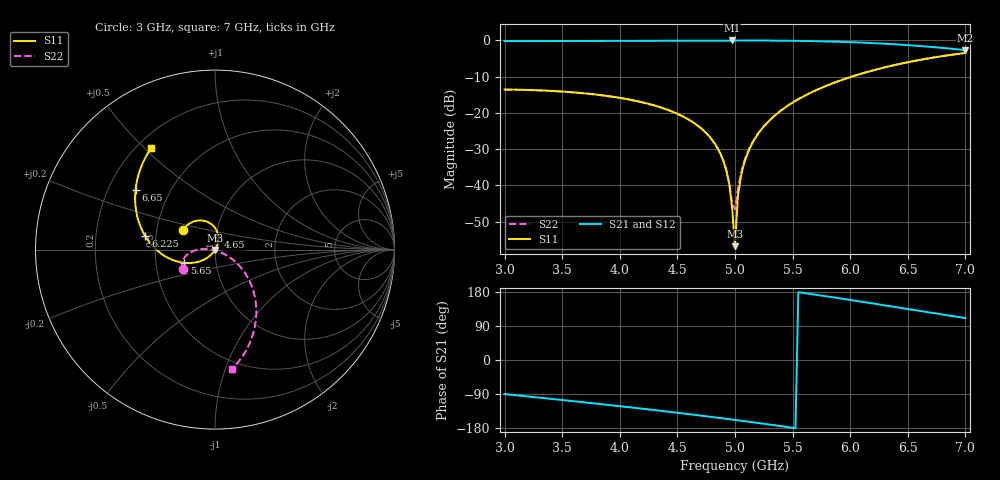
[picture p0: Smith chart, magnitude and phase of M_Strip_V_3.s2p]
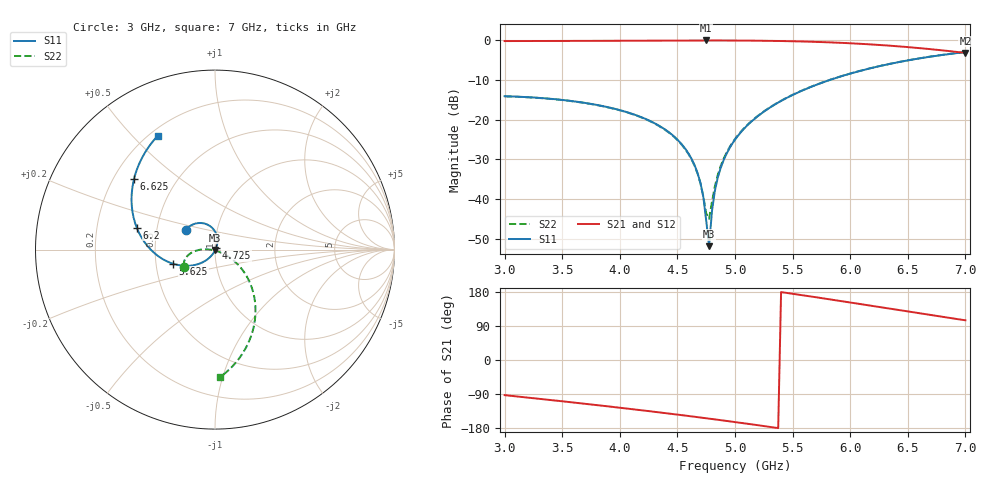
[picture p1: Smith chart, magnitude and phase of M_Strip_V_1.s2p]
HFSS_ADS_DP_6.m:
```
clc;
clear all;
close all;
%----------------------------------------------------------------------
% Units 
%----------------------------------------------------------------------

G = 10^9;
Meg = 10^6;
k = 10^+3;
c = 10^-2;
m = 10^-3;
u = 10^-6;
n = 10^-9;

%----------------------------------------------------------------------
% 
%----------------------------------------------------------------------
IFigure = 0;
%------------------------------------------------------------------
file  = 'M_Strip_V_3.s2p';
file2 = 'M_Strip_V_1.s2p';
g = read(rfdata.data,file);
h = read(rfdata.data,file2);

%% Define the path to the HFSS exported CSV file
csvFilePath = 'C:\Users\SIVA SRINIVAS\Desktop\EE-414-515-DP6\S Parameter Plot 1.csv';

% Read the CSV file into a table
data = readtable(csvFilePath);

% Extract the frequency and S11 data from the table
Frequency1 = data.Frequency;  % Assuming the column name in the CSV is 'Frequency'
S11 = data.S11_g;              % Assuming the column name in the CSV is 'S11'
S21 = data.S21_g;
NF = 32;
% Calculate the gain (magnitude of S11)
gainS11 = (S11);
gains21 = (S21);

IFigure = IFigure + 1;
figure_max(IFigure)
plot(g, 's21','db');
hold on
plot(h, 's21','db');
plot(Frequency1, gains21,'b', 'linewidth',4)
hold off
grid on
grid minor 
xlabel('{\itf} (GHz) ')
ylabel('| {\itS}_{21} | ( dB ) ', ...
'VerticalAlignment', 'bottom')
set(gca, 'FontName', 'times new roman', 'FontSize', NF)
%title('MATLAB Ideal Lumped Elements')
legend('ADS MStrip V3','ADS MStrip V1','HFSS V3')
axis([f_min/G, f_max/G, -40, 0])
set(gca, 'xtick', f_min/G : 0.2 : f_max/G);
set(gca, 'linewidth', 2.0)
```
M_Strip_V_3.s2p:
! Created Thu May  9 22:35:37 2024
# hz S ma R 50
! 2 Port Network Data from SP1.SP block
! freq  magS11  angS11  magS21  angS21  magS12  angS12  magS22  angS22
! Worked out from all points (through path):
!   161 points, 3 GHz to 7 GHz, reference 50 ohm
!   highest |S21| = -0.04 dB at 4.975 GHz (marker M1); lowest = -2.7 dB at 7 GHz (marker M2)
!   lowest |S11| = -56.8 dB at 5 GHz (marker M3), VSWR 1.00, Z = 50 - j0.141 ohm
!   |S11| at or under -10 dB: start of sweep to 6.015 GHz
!   |S22| runs from -46.6 to -3.5 dB; largest |S21 - S12| = 0
!   S11 on the Smith chart (normalised r, x): 3 GHz: 0.68, +0.16; 4.65 GHz: 1.03, +0.14; 5.65 GHz: 0.70, -0.11; 6.225 GHz: 0.44, +0.08; 6.65 GHz: 0.32, +0.30; 7 GHz: 0.26, +0.53
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3e9  0.2097 148.5  0.9752 -90.0  0.9752 -90.0  0.2092 -148.6
4.65e9  0.07168 74.8  0.9932 -144.8  0.9932 -144.8  0.07097 177.5
4.875e9  0.02713 62.3  0.9951 -153.3  0.9951 -153.3  0.02661 177.5
4.975e9  0.004919 47.1  0.9952 -157.2  0.9952 -157.2  0.005835 -147.2
5e9  0.001453 -76.1  0.9952 -158.1  0.9952 -158.1  0.004674 -81.7
5.05e9  0.01299 -119.9  0.995 -160.1  0.995 -160.1  0.01445 -33.8
5.125e9  0.03162 -126.5  0.9945 -163.1  0.9945 -163.1  0.03275 -26.2
5.65e9  0.1868 -156.8  0.9763 174.6  0.9763 174.6  0.1878 -35.8
6.225e9  0.395 169.2  0.9111 147.9  0.9111 147.9  0.3961 -54.6
6.65e9  0.5528 143.2  0.8243 127.3  0.8243 127.3  0.5541 -69.5
7e9  0.6694 122.0  0.7326 110.6  0.7326 110.6  0.671 -81.7
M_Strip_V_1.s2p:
! Created Thu May  9 23:40:26 2024
# hz S ma R 50
! 2 Port Network Data from SP1.SP block
! freq  magS11  angS11  magS21  angS21  magS12  angS12  magS22  angS22
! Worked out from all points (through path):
!   161 points, 3 GHz to 7 GHz, reference 50 ohm
!   highest |S21| = -0.04 dB at 4.75 GHz (marker M1); lowest = -3.2 dB at 7 GHz (marker M2)
!   lowest |S11| = -51.9 dB at 4.775 GHz (marker M3), VSWR 1.01, Z = 50.2 - j0.18 ohm
!   |S11| at or under -10 dB: start of sweep to 5.823 GHz
!   |S22| runs from -45.0 to -3.0 dB; largest |S21 - S12| = 0
!   S11 on the Smith chart (normalised r, x): 3 GHz: 0.70, +0.16; 4.725 GHz: 1.01, +0.02; 5.625 GHz: 0.61, -0.10; 6.2 GHz: 0.38, +0.12; 6.625 GHz: 0.28, +0.35; 7 GHz: 0.23, +0.59
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3e9  0.1974 145.6  0.9777 -92.7  0.9777 -92.7  0.1968 -151.3
4.3e9  0.09039 86.5  0.992 -136.6  0.992 -136.6  0.08964 -178.8
4.725e9  0.0106 54.0  0.9954 -152.7  0.9954 -152.7  0.0108 -163.7
4.75e9  0.005353 39.2  0.9954 -153.7  0.9954 -153.7  0.006582 -139.8
4.775e9  0.00254 -45.0  0.9954 -154.7  0.9954 -154.7  0.005622 -86.2
4.85e9  0.01847 -111.9  0.9951 -157.7  0.9951 -157.7  0.01998 -32.2
5e9  0.05587 -124.8  0.9934 -163.8  0.9934 -163.8  0.05702 -26.4
5.625e9  0.2466 -161.4  0.9627 169.2  0.9627 169.2  0.2477 -41.6
6.2e9  0.4527 164.4  0.8838 142.3  0.8838 142.3  0.4539 -60.7
6.625e9  0.5994 138.8  0.7913 122.1  0.7913 122.1  0.6008 -75.4
7e9  0.71 116.7  0.6937 104.8  0.6937 104.8  0.7117 -87.8
